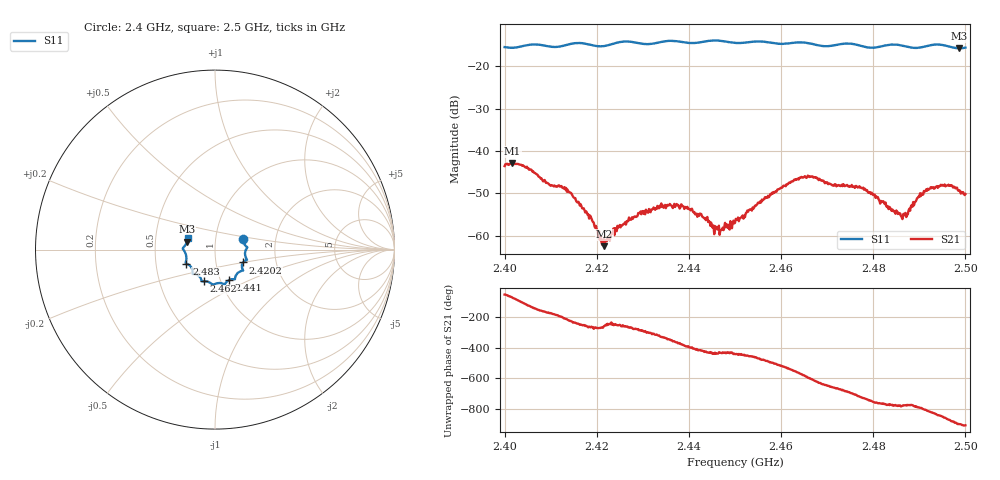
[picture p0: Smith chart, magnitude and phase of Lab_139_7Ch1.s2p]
# Hz S RI R 50
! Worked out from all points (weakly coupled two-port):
!   601 points, 2.4 GHz to 2.5 GHz, reference 50 ohm
!   highest |S21| = -42.93 dB at 2.4017 GHz (marker M1); lowest = -62.4 dB at 2.4217 GHz (marker M2)
!   lowest |S11| = -15.8 dB at 2.4987 GHz (marker M3), VSWR 1.39, Z = 36.4 + j3.28 ohm
!   |S11| at or under -10 dB: start of sweep to end of sweep
!   S12 and S22 are empty: the file has one direction only
!   S11 on the Smith chart (normalised r, x): 2.4 GHz: 1.36, +0.17; 2.4202 GHz: 1.35, -0.20; 2.441 GHz: 1.10, -0.39; 2.462 GHz: 0.83, -0.30; 2.483 GHz: 0.72, -0.12; 2.5 GHz: 0.73, +0.09
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2.4e9  0.1565 0.0606  0.00381 -0.00543  0 0  0 0
2.401667e9  0.1597 0.0403  0.00189 -0.00688  0 0  0 0
2.412833e9  0.1701 -0.0393  -0.00314 0.00178  0 0  0 0
2.416667e9  0.1777 -0.058  -0.000679 0.00212  0 0  0 0
2.420167e9  0.1564 -0.0717  5.76e-05 0.00115  0 0  0 0
2.421667e9  0.15 -0.0857  -0.000141 0.000743  0 0  0 0
2.427167e9  0.1553 -0.117  1.81e-05 0.00157  0 0  0 0
2.433333e9  0.113 -0.1522  0.00168 0.00131  0 0  0 0
2.437333e9  0.1072 -0.1653  0.00236 -0.000249  0 0  0 0
2.441e9  0.0769 -0.1705  0.00129 -0.00138  0 0  0 0
2.446667e9  0.0498 -0.1934  0.000337 -0.000972  0 0  0 0
2.45e9  0.0268 -0.1861  0.000179 -0.00141  0 0  0 0
2.462e9  -0.0617 -0.1759  -0.00421 0.000146  0 0  0 0
2.466667e9  -0.0765 -0.1669  -0.00205 0.00458  0 0  0 0
2.477333e9  -0.1251 -0.1202  0.0037 -0.000148  0 0  0 0
2.483e9  -0.1591 -0.0779  0.00128 -0.00176  0 0  0 0
2.483333e9  -0.1606 -0.0773  0.00133 -0.00159  0 0  0 0
2.486667e9  -0.1611 -0.0627  0.00101 -0.00152  0 0  0 0
2.492e9  -0.1744 -0.00271  -0.000283 -0.00348  0 0  0 0
2.4965e9  -0.1691 0.0197  -0.0034 -0.00189  0 0  0 0
2.498667e9  -0.1561 0.0439  -0.00345 -8.57e-05  0 0  0 0
2.5e9  -0.1531 0.0627  -0.00309 0.000328  0 0  0 0
